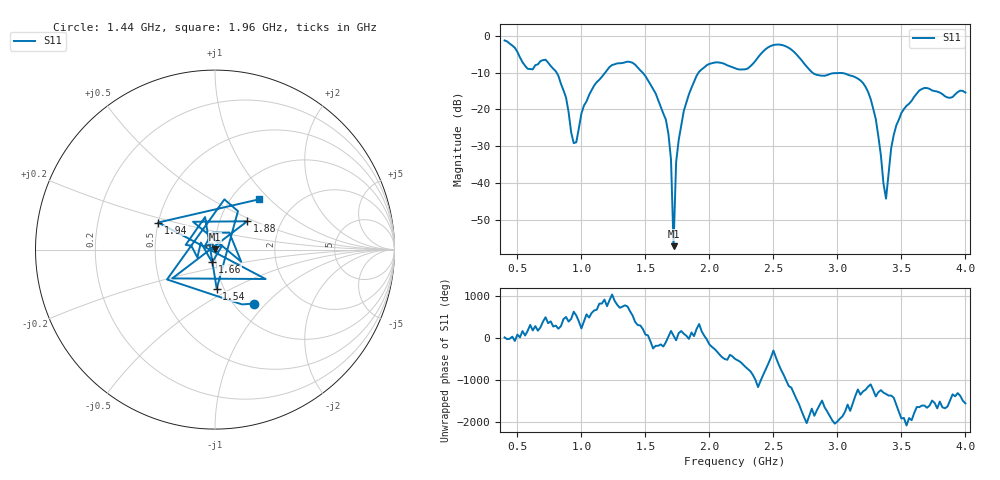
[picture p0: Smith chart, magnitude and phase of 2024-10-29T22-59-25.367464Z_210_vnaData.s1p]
!Created with skrf (http://scikit-rf.org).
# Hz S RI R 50.0
!freq ReS11 ImS11
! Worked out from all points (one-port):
!   181 points, 400 MHz to 4 GHz, reference 50 ohm
!   lowest |S11| = -57.2 dB at 1.72 GHz (marker M1), VSWR 1.00, Z = 50.1 + j0.108 ohm
!   |S11| at or under -10 dB: 806.5 MHz to 1.185 GHz (378.9 MHz wide, 38 % of centre); 1.479 GHz to 1.915 GHz (436.2 MHz wide, 25.7 % of centre); 2.806 GHz to end of sweep
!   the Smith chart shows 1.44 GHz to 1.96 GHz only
!   S11 on the Smith chart (normalised r, x): 1.44 GHz: 1.23, -0.86; 1.54 GHz: 0.93, -0.42; 1.66 GHz: 0.96, -0.14; 1.88 GHz: 1.35, +0.45; 1.94 GHz: 0.50, +0.17; 1.96 GHz: 1.33, +0.87
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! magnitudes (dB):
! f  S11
! 400 MHz  -1.2
! 580 MHz  -8.9
! 720 MHz  -6.5
! 860 MHz  -14.8
! 960 MHz  -28.9
! 1.1 GHz  -13.5
! 1.3 GHz  -7.4
! 1.44 GHz  -8.6
! 1.54 GHz  -13.2
! 1.66 GHz  -22.8
! 1.7 GHz  -33.6
! 1.72 GHz  -57.2
! 1.74 GHz  -34.3
! 1.76 GHz  -28.3
! 1.88 GHz  -12.4
! 1.94 GHz  -9.1
! 1.96 GHz  -8.6
! 2.2 GHz  -8.8
! 2.66 GHz  -4.3
! 2.82 GHz  -10.4
! 3.1 GHz  -10.8
! 3.26 GHz  -17.2
! 3.3 GHz  -22.6
! 3.38 GHz  -44.2
! 3.44 GHz  -26.9
! 3.56 GHz  -18.4
! 3.68 GHz  -14.1
! 4 GHz  -15.4
